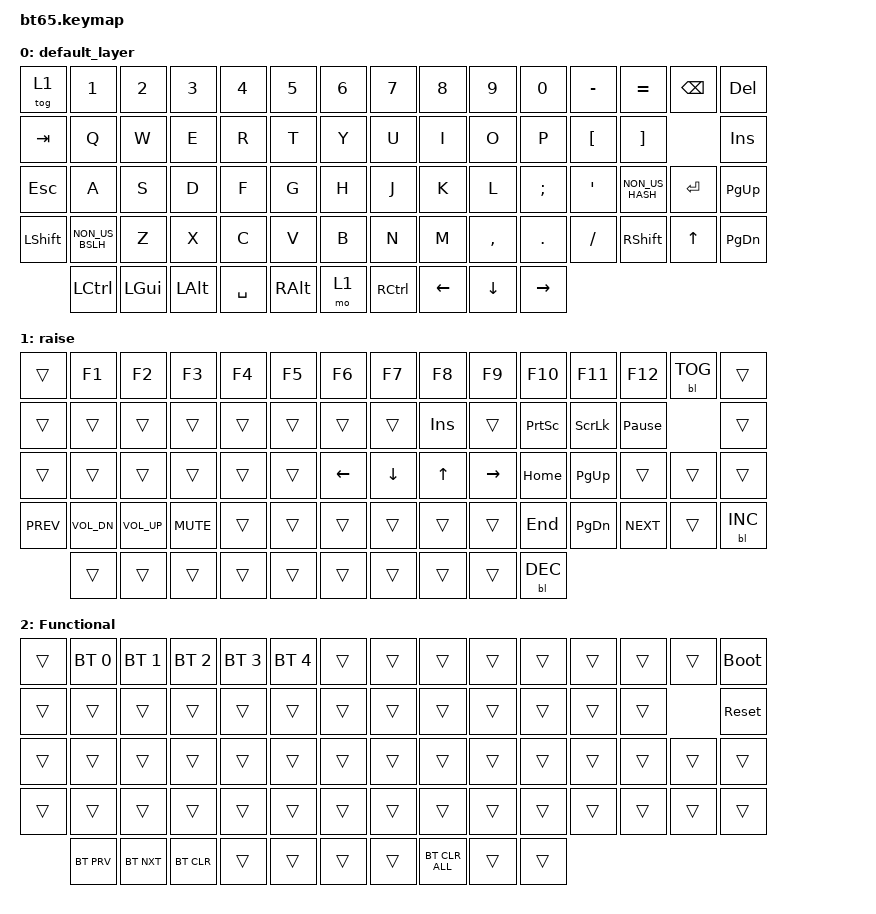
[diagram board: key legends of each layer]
#include <behaviors.dtsi>
#include <dt-bindings/zmk/backlight.h>
#include <dt-bindings/zmk/bt.h>
#include <dt-bindings/zmk/keys.h>

/ {
    combos {
        compatible = "zmk,combos";

        ToFunctional {
            bindings = <&tog 2>;
            key-positions = <9 42>;
        };
    };

    keymap {
        compatible = "zmk,keymap";

        default_layer {
            // ------------------------------------------------------------------------------------------------------------
            // |  `  |  1  |  2  |  3  |  4  |  5  |  6  |  7  |  8  |  9  |  0  |  -  |  =  |BKSP | INS		|
            // | TAB  |  Q  |  W  |  E  |  R  |  T  |  Y  |  U  |  I  |  O  |  P  |  [  |  ]  |   \    | DEL		|
            // | CAPS  |  A  |  S  |  D  |  F  |  G  |  H  |  J  |  K  |  L  |  ;  |  '  |     ENTER    |PGUP	|
            // |  SHIFT  |  Z  |  X  |  C  |  V  |  B  |  N  |  M  |  ,  |  .  | /   |   SHIFT  | UP   | PGDN|
            // |  CTL  |  WIN  |  ALT  |            SPACE               | ALT | 1    |  MENU| LEFT |  DOWN    | RIGHT	|
            // ------------------------------------------------------------------------------------------------------------

            bindings = <
&tog 1     &kp N1           &kp N2    &kp N3    &kp N4     &kp N5    &kp N6  &kp N7     &kp N8    &kp N9     &kp N0     &kp MINUS  &kp EQUAL        &kp BACKSPACE  &kp DEL
&kp TAB    &kp Q            &kp W     &kp E     &kp R      &kp T     &kp Y   &kp U      &kp I     &kp O      &kp P      &kp LBKT   &kp RBKT                        &kp INS
&kp ESC    &kp A            &kp S     &kp D     &kp F      &kp G     &kp H   &kp J      &kp K     &kp L      &kp SEMI   &kp SQT    &kp NON_US_HASH  &kp RET        &kp PG_UP
&kp LSHFT  &kp NON_US_BSLH  &kp Z     &kp X     &kp C      &kp V     &kp B   &kp N      &kp M     &kp COMMA  &kp DOT    &kp FSLH   &kp RSHFT        &kp UP         &kp PG_DN
           &kp LCTRL        &kp LGUI  &kp LALT  &kp SPACE  &kp RALT  &mo 1   &kp RCTRL  &kp LEFT  &kp DOWN   &kp RIGHT
            >;
        };

        raise {
            bindings = <
&trans      &kp F1        &kp F2        &kp F3      &kp F4  &kp F5  &kp F6          &kp F7          &kp F8        &kp F9     &kp F10     &kp F11    &kp F12          &bl BL_TOG  &trans
&trans      &trans        &trans        &trans      &trans  &trans  &trans          &trans          &kp INS       &trans     &kp PSCRN   &kp SLCK   &kp PAUSE_BREAK              &trans
&trans      &trans        &trans        &trans      &trans  &trans  &kp LEFT_ARROW  &kp DOWN_ARROW  &kp UP_ARROW  &kp RIGHT  &kp HOME    &kp PG_UP  &trans           &trans      &trans
&kp C_PREV  &kp C_VOL_DN  &kp C_VOL_UP  &kp C_MUTE  &trans  &trans  &trans          &trans          &trans        &trans     &kp END     &kp PG_DN  &kp C_NEXT       &trans      &bl BL_INC
            &trans        &trans        &trans      &trans  &trans  &trans          &trans          &trans        &trans     &bl BL_DEC
            >;
        };

        Functional {
            bindings = <
&trans  &bt BT_SEL 0  &bt BT_SEL 1  &bt BT_SEL 2  &bt BT_SEL 3  &bt BT_SEL 4  &trans  &trans  &trans          &trans  &trans  &trans  &trans  &trans  &bootloader
&trans  &trans        &trans        &trans        &trans        &trans        &trans  &trans  &trans          &trans  &trans  &trans  &trans          &sys_reset
&trans  &trans        &trans        &trans        &trans        &trans        &trans  &trans  &trans          &trans  &trans  &trans  &trans  &trans  &trans
&trans  &trans        &trans        &trans        &trans        &trans        &trans  &trans  &trans          &trans  &trans  &trans  &trans  &trans  &trans
        &bt BT_PRV    &bt BT_NXT    &bt BT_CLR    &trans        &trans        &trans  &trans  &bt BT_CLR_ALL  &trans  &trans
            >;
        };
    };
};
